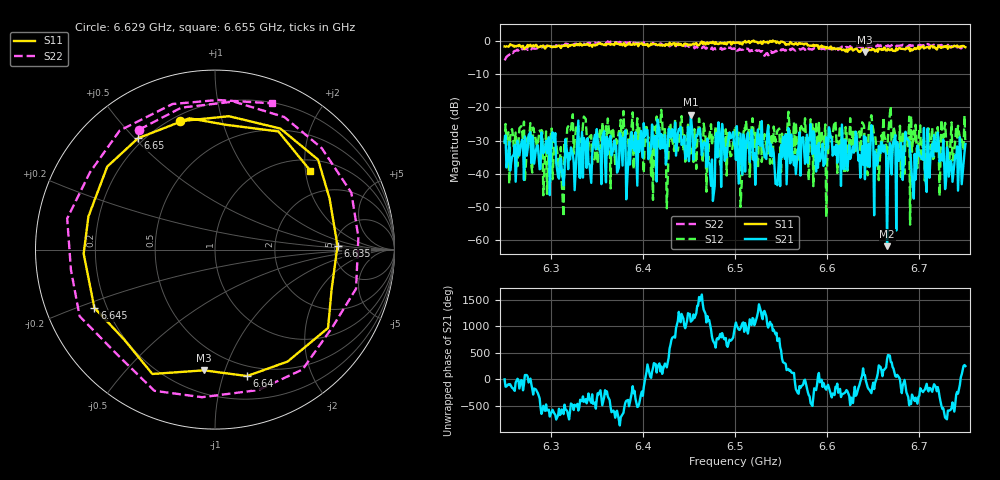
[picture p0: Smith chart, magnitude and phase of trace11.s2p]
# Hz S RI R 50
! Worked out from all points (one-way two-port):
!   401 points, 6.25 GHz to 6.75 GHz, reference 50 ohm
!   highest |S21| = -22.21 dB at 6.452 GHz (marker M1); lowest = -61.8 dB at 6.665 GHz (marker M2)
!   lowest |S11| = -3.4 dB at 6.641 GHz (marker M3), VSWR 5.16, Z = 17.2 - j42.6 ohm
!   |S11| at or under -10 dB: nowhere
!   |S22| runs from -5.8 to -0.1 dB; largest |S21 - S12| = 0.13
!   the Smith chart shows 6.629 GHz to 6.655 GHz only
!   S11 on the Smith chart (normalised r, x): 6.629 GHz: 0.23, +0.74; 6.635 GHz: 5.27, +0.42; 6.64 GHz: 0.40, -1.20; 6.645 GHz: 0.15, -0.22; 6.65 GHz: 0.18, +0.51; 6.655 GHz: 1.28, +2.13
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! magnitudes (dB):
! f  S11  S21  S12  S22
! 6.25 GHz  -1.7  -30.3  -31.0  -5.8
! 6.311 GHz  -2.1  -35.3  -31.9  -1.5
! 6.321 GHz  -1.4  -35.7  -26.9  -1.1
! 6.334 GHz  -1.4  -27.4  -29.0  -0.8
! 6.411 GHz  -1.0  -29.5  -47.9  -0.5
! 6.418 GHz  -1.0  -27.2  -26.2  -1.2
! 6.452 GHz  -1.2  -22.2  -34.5  -1.6
! 6.475 GHz  -0.7  -35.7  -31.4  -2.0
! 6.481 GHz  -0.9  -35.1  -26.6  -2.2
! 6.5 GHz  -0.5  -31.6  -25.6  -2.6
! 6.546 GHz  -0.2  -43.4  -27.0  -2.9
! 6.584 GHz  -1.4  -34.1  -25.1  -2.6
! 6.629 GHz  -2.6  -33.6  -33.3  -2.0
! 6.635 GHz  -3.3  -34.3  -27.2  -1.7
! 6.64 GHz  -2.8  -28.5  -25.5  -1.6
! 6.641 GHz  -3.4  -41.6  -32.6  -1.7
! 6.645 GHz  -2.5  -31.0  -27.0  -1.9
! 6.65 GHz  -2.5  -30.3  -26.7  -1.7
! 6.655 GHz  -3.2  -36.6  -37.8  -1.2
! 6.665 GHz  -2.8  -61.8  -40.2  -1.6
! 6.668 GHz  -2.8  -30.8  -22.1  -1.7
! 6.75 GHz  -1.9  -31.0  -31.1  -2.2
